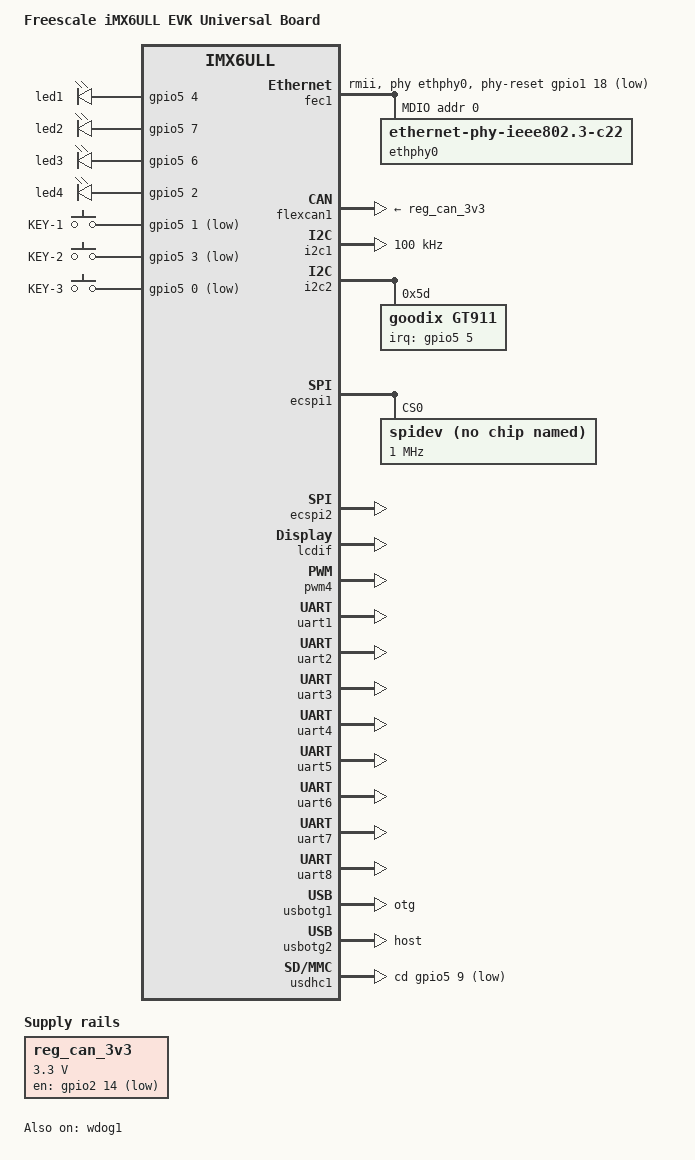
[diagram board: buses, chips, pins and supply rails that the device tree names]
/*
 * Copyright (C) 2016 Freescale Semiconductor, Inc.
 * Copyright (C) 2019 Lierda, Inc.
 *
 * This program is free software; you can redistribute it and/or modify
 * it under the terms of the GNU General Public License version 2 as
 * published by the Free Software Foundation.
 */

/dts-v1/;

#include <dt-bindings/input/input.h>
#include "imx6ull-evk-unvs-core.dtsi"

/ {
	model = "Freescale iMX6ULL EVK Universal Board";
	compatible = "fsl,imx6ull-14x14-evk", "fsl,imx6ull";

	chosen {
		stdout-path = &uart1;
	};

	regulators {
		compatible = "simple-bus";
		#address-cells = <1>;
		#size-cells = <0>;

		reg_can_3v3: regulator@0 {
			compatible = "regulator-fixed";
			reg = <0>;
			regulator-name = "can-3v3";
			regulator-min-microvolt = <3300000>;
			regulator-max-microvolt = <3300000>;
			gpio = <&gpio2 14 GPIO_ACTIVE_LOW>;
		};
	};

	leds {
		compatible = "gpio-leds";
		pinctrl-names = "default";
		pinctrl-0 = <&pinctrl_leds>;

		led1 {
			label = "led1";
			gpios = <&gpio5 4 GPIO_ACTIVE_HIGH>;
			default-state = "on";
			linux,default-trigger = "heartbeat";
		};

		led2 {
			label = "led2";
			gpios = <&gpio5 7 GPIO_ACTIVE_HIGH>;
			default-state = "off";
		};

		led3 {
			label = "led3";
			gpios = <&gpio5 6 GPIO_ACTIVE_HIGH>;
			default-state = "on";
		};

		led4 {
			label = "led4";
			gpios = <&gpio5 2 GPIO_ACTIVE_HIGH>;
			default-state = "on";
		};
	};

	gpio-keys {
		compatible = "gpio-keys";
		pinctrl-names = "default";
		pinctrl-0 = <&pinctrl_gpio_keys>;

		key1 {
			label = "KEY-1";
			linux,code = <KEY_1>;
			gpios = <&gpio5 1 GPIO_ACTIVE_LOW>;
		};

		key2 {
			label = "KEY-2";
			linux,code = <KEY_2>;
			gpios = <&gpio5 3 GPIO_ACTIVE_LOW>;
		};

		key3 {
			label = "KEY-3";
			linux,code = <KEY_3>;
			gpios = <&gpio5 0 GPIO_ACTIVE_LOW>;
		};
	};
};

&fec1 {
	pinctrl-names = "default";
	pinctrl-0 = <&pinctrl_enet1>;
	phy-mode = "rmii";
	phy-reset-gpios = <&gpio1 18 GPIO_ACTIVE_HIGH>;
	phy-handle = <&ethphy0>;
	status = "okay";

	mdio {
		#address-cells = <1>;
		#size-cells = <0>;

		ethphy0: ethernet-phy@0 {
			compatible = "ethernet-phy-ieee802.3-c22";
			reg = <0>;
		};
	};
};

&flexcan1 {
	pinctrl-names = "default";
	pinctrl-0 = <&pinctrl_flexcan1>;
	xceiver-supply = <&reg_can_3v3>;
	status = "okay";
};

&flexcan2 {
	pinctrl-names = "default";
	pinctrl-0 = <&pinctrl_flexcan2>;
	xceiver-supply = <&reg_can_3v3>;
	status = "disabled";
};

&i2c1 {
	clock-frequency = <100000>;
	pinctrl-names = "default";
	pinctrl-0 = <&pinctrl_i2c1>;
	status = "okay";
};

&i2c2 {
	clock_frequency = <100000>;
	pinctrl-names = "default";
	pinctrl-0 = <&pinctrl_i2c2>;
	status = "okay";

	gt911@5d {
		compatible = "goodix,gt911";
		reg = <0x5d>;
		interrupt-parent = <&gpio5>;
		interrupts = <5 0>;
	};
};

&ecspi1 {
	pinctrl-names = "default";
	pinctrl-0 = <&pinctrl_spi1>;
	fsl,spi-num-chipselects = <0>;
	cs-gpios = <0>;
	status = "okay";

	spidev: spidev@0 {
		compatible = "rohm,dh2228fv";
		spi-max-frequency = <1000000>;
		reg = <0>;
	};
};

&ecspi2 {
	pinctrl-names = "default";
	pinctrl-0 = <&pinctrl_spi2>;
	fsl,spi-num-chipselects = <0>;
	cs-gpios = <0>;
	status = "okay";
};

&lcdif {
	pinctrl-names = "default";
	pinctrl-0 = <&pinctrl_lcdif_dat
		     &pinctrl_lcdif_ctrl
		     &pinctrl_lcdif_reset>;
	display = <&display0>;
	status = "okay";

	display0: display {
		bits-per-pixel = <32>;
		bus-width = <24>;

		display-timings {
			native-mode = <&timing0>;
			timing0: timing0 {
				clock-frequency = <33000000>;
				hactive = <800>;
				vactive = <480>;
				hfront-porch = <89>;
				hback-porch = <164>;
				hsync-len = <23>;
				vback-porch = <10>;
				vfront-porch = <10>;
				vsync-len = <10>;

				hsync-active = <0>;
				vsync-active = <0>;
				de-active = <1>;
				pixelclk-active = <0>;
			};
		};
	};
};

&pwm2 {
	pinctrl-names = "default";
	pinctrl-0 = <&pinctrl_pwm2>;
	status = "disabled";
};

&pwm4 {
	pinctrl-names = "default";
	pinctrl-0 = <&pinctrl_pwm4>;
	status = "okay";
};

&sai2 {
	pinctrl-names = "default";
	pinctrl-0 = <&pinctrl_sai2>;
	assigned-clocks = <&clks IMX6UL_CLK_SAI2_SEL>,
			  <&clks IMX6UL_CLK_SAI2>;
	assigned-clock-parents = <&clks IMX6UL_CLK_PLL4_AUDIO_DIV>;
	assigned-clock-rates = <0>, <12288000>;

	status = "disabled";
};

&uart1 {
	pinctrl-names = "default";
	pinctrl-0 = <&pinctrl_uart1>;
	status = "okay";
};

&uart2 {
	pinctrl-names = "default";
	pinctrl-0 = <&pinctrl_uart2>;
	status = "okay";
};

&uart3 {
	pinctrl-names = "default";
	pinctrl-0 = <&pinctrl_uart3>;
	status = "okay";
};

&uart4 {
	pinctrl-names = "default";
	pinctrl-0 = <&pinctrl_uart4>;
	status = "okay";
};

&uart5 {
	pinctrl-names = "default";
	pinctrl-0 = <&pinctrl_uart5>;
	status = "okay";
};

&uart6 {
	pinctrl-names = "default";
	pinctrl-0 = <&pinctrl_uart6>;
	status = "okay";
};

&uart7 {
	pinctrl-names = "default";
	pinctrl-0 = <&pinctrl_uart7>;
	status = "okay";
};

&uart8 {
	pinctrl-names = "default";
	pinctrl-0 = <&pinctrl_uart8>;
	status = "okay";
};

&usbotg1 {
	dr_mode = "otg";
	srp-disable;
	hnp-disable;
	adp-disable;
	status = "okay";
};

&usbotg2 {
	dr_mode = "host";
	disable-over-current;
	status = "okay";
};

&usdhc1 {
	pinctrl-names = "default", "state_100mhz", "state_200mhz";
	pinctrl-0 = <&pinctrl_usdhc1_50mhz>;
	pinctrl-1 = <&pinctrl_usdhc1_100mhz>;
	pinctrl-2 = <&pinctrl_usdhc1_200mhz>;
	cd-gpios = <&gpio5 9 GPIO_ACTIVE_LOW>;
	keep-power-in-suspend;
	enable-sdio-wakeup;
	no-1-8-v;
	status = "okay";
};

&wdog1 {
	pinctrl-names = "default";
	pinctrl-0 = <&pinctrl_wdog>;
	fsl,wdog_b;
	status = "okay";
};				

&iomuxc_snvs {
	pinctrl-names = "default_snvs";

	imx6ul-evk {
		pinctrl_leds: ledsgrp {
			fsl,pins = <
				MX6ULL_PAD_SNVS_TAMPER2__GPIO5_IO02	0x80000000
				MX6ULL_PAD_SNVS_TAMPER4__GPIO5_IO04	0x80000000
				MX6ULL_PAD_SNVS_TAMPER6__GPIO5_IO06	0x80000000
				MX6ULL_PAD_SNVS_TAMPER7__GPIO5_IO07	0x80000000
				MX6ULL_PAD_SNVS_TAMPER9__GPIO5_IO09	0x80000000
			>;
		};

		pinctrl_gpio_keys: gpiokeysgrp {
			fsl,pins = <
				MX6ULL_PAD_SNVS_TAMPER1__GPIO5_IO01	0x80000000
				MX6ULL_PAD_SNVS_TAMPER3__GPIO5_IO03	0x80000000
				MX6ULL_PAD_SNVS_TAMPER0__GPIO5_IO00	0x80000000
			>;
		};
	};
};
